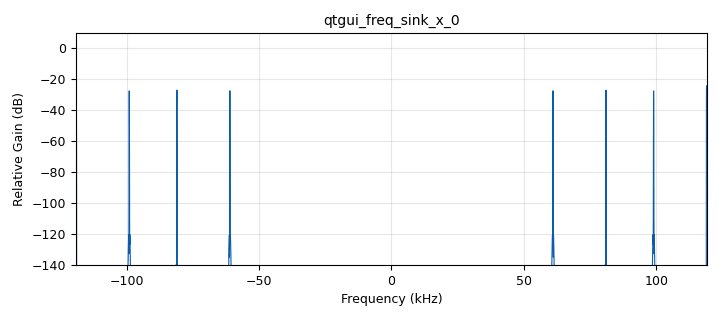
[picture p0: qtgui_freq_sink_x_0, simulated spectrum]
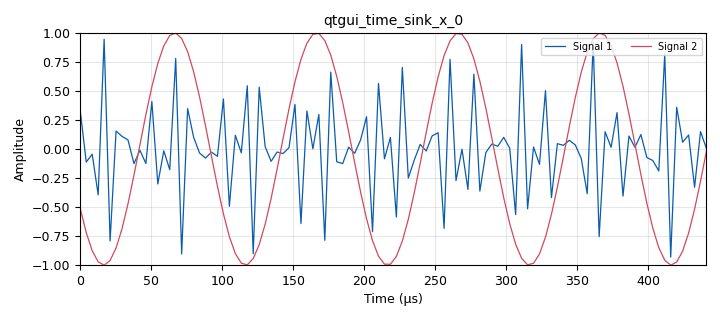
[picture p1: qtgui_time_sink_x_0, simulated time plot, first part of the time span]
options:
  parameters:
    author: Barrios_Cogollo
    copyright: UIS
    description: Multiplicar 3 señales
    generate_options: qt_gui
    id: Multiplicador
    output_language: python
    title: Multiplicador
  states: {}

blocks:
- name: FA
  id: variable
  parameters:
    value: '19000'
  states: {}
- name: FB
  id: variable
  parameters:
    value: '90000'
  states: {}
- name: FC
  id: variable
  parameters:
    value: '10000'
  states: {}
- name: N
  id: variable_qtgui_range
  parameters:
    label: Relacion de muestreo
    orient: Qt.Horizontal
    rangeType: int
    start: '0'
    step: '1'
    stop: '20'
    value: '2'
  states: {}
- name: samp_rate
  id: variable
  parameters:
    value: N*(FA+FB+FC)
  states: {}
- name: analog_sig_source_x_0
  id: analog_sig_source_x
  parameters:
    amp: '1'
    freq: FA
    offset: '0'
    phase: '0'
    samp_rate: samp_rate
    type: float
    waveform: analog.GR_COS_WAVE
  states: {}
- name: analog_sig_source_x_1
  id: analog_sig_source_x
  parameters:
    amp: '1'
    freq: FB
    offset: '0'
    phase: '0'
    samp_rate: samp_rate
    type: float
    waveform: analog.GR_COS_WAVE
  states: {}
- name: analog_sig_source_x_2
  id: analog_sig_source_x
  parameters:
    amp: '1'
    freq: FC
    offset: '0'
    phase: '0'
    samp_rate: samp_rate
    type: float
    waveform: analog.GR_COS_WAVE
  states: {}
- name: blocks_multiply_xx_0
  id: blocks_multiply_xx
  parameters:
    num_inputs: '3'
    type: float
  states: {}
- name: blocks_throttle_0
  id: blocks_throttle
  parameters:
    samples_per_second: samp_rate
    type: float
  states: {}
- name: qtgui_freq_sink_x_0
  id: qtgui_freq_sink_x
  parameters:
    bw: samp_rate
    fc: '0'
    fftsize: 1024*8
    type: float
    wintype: firdes.WIN_BLACKMAN_hARRIS
  states: {}
- name: qtgui_time_sink_x_0
  id: qtgui_time_sink_x
  parameters:
    nconnections: '2'
    size: '1024'
    srate: samp_rate
    type: float
  states: {}

connections:
- [analog_sig_source_x_0, '0', blocks_throttle_0, '0']
- [analog_sig_source_x_1, '0', blocks_multiply_xx_0, '1']
- [analog_sig_source_x_2, '0', blocks_multiply_xx_0, '2']
- [analog_sig_source_x_2, '0', qtgui_time_sink_x_0, '1']
- [blocks_multiply_xx_0, '0', qtgui_freq_sink_x_0, '0']
- [blocks_multiply_xx_0, '0', qtgui_time_sink_x_0, '0']
- [blocks_throttle_0, '0', blocks_multiply_xx_0, '0']

metadata:
  file_format: 1
